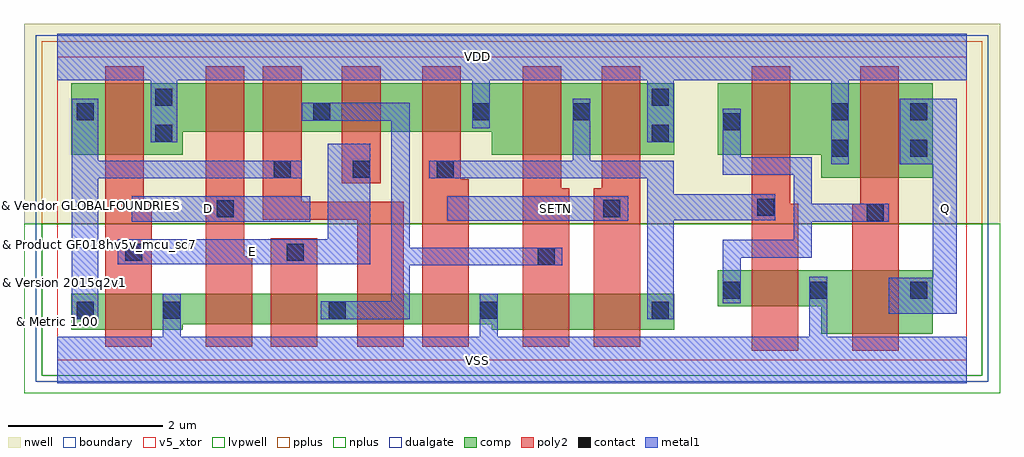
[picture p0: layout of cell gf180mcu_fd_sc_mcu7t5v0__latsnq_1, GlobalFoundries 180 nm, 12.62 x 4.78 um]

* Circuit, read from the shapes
.subckt gf180mcu_fd_sc_mcu7t5v0__latsnq_1 D E Q SETN VDD VSS
XM1 VSS E n1 VSUBS nfet_05v0 w=0.465u l=0.6u
XM2 n2 D VSS VSUBS nfet_05v0 w=0.395u l=0.6u
XM3 n3 E n2 VSUBS nfet_05v0 w=0.395u l=0.6u
XM4 n4 n1 n3 VSUBS nfet_05v0 w=0.395u l=0.6u
XM5 VSS n5 n4 VSUBS nfet_05v0 w=0.395u l=0.6u
XM6 n6 n3 VSS VSUBS nfet_05v0 w=0.465u l=0.6u
XM7 n5 SETN n6 VSUBS nfet_05v0 w=0.465u l=0.6u
XM8 VSS n5 n7 VSUBS nfet_05v0 w=0.465u l=0.6u
XM9 Q n7 VSS VSUBS nfet_05v0 w=0.82u l=0.6u
XM10 VDD E n1 n8 pfet_05v0 w=0.925u l=0.5u
XM11 n9 D VDD n8 pfet_05v0 w=0.63u l=0.5u
XM12 n3 n1 n9 n8 pfet_05v0 w=0.63u l=0.5u
XM13 n10 E n3 n8 pfet_05v0 w=0.63u l=0.5u
XM14 VDD n5 n10 n8 pfet_05v0 w=0.63u l=0.5u
XM15 n5 n3 VDD n8 pfet_05v0 w=0.925u l=0.5u
XM16 VDD SETN n5 n8 pfet_05v0 w=0.925u l=0.5u
XM17 VDD n5 n7 n8 pfet_05v0 w=0.925u l=0.5u
XM18 Q n7 VDD n8 pfet_05v0 w=1.22u l=0.5u
.ends

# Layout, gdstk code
import gdstk
lib = gdstk.Library(unit=1e-6, precision=1e-09)
def R(c, l, rs):  # rectangles x0, y0, x1, y1
    for r in rs: c.add(gdstk.rectangle(r[:2], r[2:], *l))
def P(c, l, *ps):  # polygons
    for p in ps: c.add(gdstk.Polygon(p, *l))
boundary = (0, 0)
nwell = (21, 0)
comp = (22, 0)
poly2 = (30, 0)
pplus = (31, 0)
nplus = (32, 0)
contact = (33, 0)
metal1 = (34, 0)
dualgate = (55, 0)
v5_xtor = (112, 1)
lvpwell = (204, 0)

gf180mcu_fd_sc_mcu7t5v0_ = lib.new_cell('gf180mcu_fd_sc_mcu7t5v0__latsnq_1')
R(gf180mcu_fd_sc_mcu7t5v0_, boundary, [(0,0,11.76,3.92)])
R(gf180mcu_fd_sc_mcu7t5v0_, nwell, [(-0.43,1.76,12.19,4.35)])
P(gf180mcu_fd_sc_mcu7t5v0_, comp, [(0.18,0.395),(0.18,0.86),(7.98,0.86),(7.98,0.395),(5.62,0.395),(5.62,0.465),(1.62,0.465),(1.62,0.395)],
  [(0.18,2.655),(0.18,3.58),(7.98,3.58),(7.98,2.655),(5.62,2.655),(5.62,2.95),(1.62,2.95),(1.62,2.655)],
  [(9.88,0.34),(9.88,0.695),(8.54,0.695),(8.54,1.16),(11.32,1.16),(11.32,0.34)],
  [(9.88,2.36),(9.88,2.655),(8.54,2.655),(8.54,3.58),(11.32,3.58),(11.32,2.36)])
R(gf180mcu_fd_sc_mcu7t5v0_, poly2, [(2.76,0.175,3.36,1.575), (3.68,2.285,4.18,3.8)])
P(gf180mcu_fd_sc_mcu7t5v0_, poly2, [(0.62,0.175),(0.62,3.8),(1.12,3.8),(1.12,2.065),(1.22,2.065),(1.22,0.175)],
  [(1.92,0.175),(1.92,3.8),(2.42,3.8),(2.42,1.34),(2.52,1.34),(2.52,0.175)],
  [(3.88,0.175),(3.88,1.815),(2.66,1.815),(2.66,3.8),(3.16,3.8),(3.16,2.045),(4.48,2.045),(4.48,0.175)],
  [(4.72,0.175),(4.72,3.8),(5.22,3.8),(5.22,2.335),(5.32,2.335),(5.32,0.175)],
  [(6.02,0.175),(6.02,3.8),(6.52,3.8),(6.52,2.22),(6.62,2.22),(6.62,0.175)],
  [(6.94,0.175),(6.94,2.22),(7.04,2.22),(7.04,3.8),(7.54,3.8),(7.54,0.175)],
  [(8.98,0.12),(8.98,3.8),(9.48,3.8),(9.48,2.02),(9.58,2.02),(9.58,0.12)],
  [(10.28,0.12),(10.28,2.02),(10.38,2.02),(10.38,3.8),(10.88,3.8),(10.88,0.12)])
R(gf180mcu_fd_sc_mcu7t5v0_, pplus, [(-0.2,1.76,11.96,4.12)])
R(gf180mcu_fd_sc_mcu7t5v0_, nplus, [(-0.2,-0.2,11.96,1.76)])
R(gf180mcu_fd_sc_mcu7t5v0_, contact, [(0.25,0.535,0.47,0.755), (1.37,0.535,1.59,0.755), (3.51,0.535,3.73,0.755), (5.47,0.535,5.69,0.755), (7.69,0.535,7.91,0.755), (8.61,0.795,8.83,1.015), (9.73,0.795,9.95,1.015), (11.03,0.795,11.25,1.015), (6.21,1.23,6.43,1.45), (0.88,1.285,1.1,1.505), (2.97,1.285,3.19,1.505), (10.47,1.795,10.69,2.015), (2.06,1.845,2.28,2.065), (7.06,1.85,7.28,2.07), (9.05,1.865,9.27,2.085), (2.8,2.355,3.02,2.575), (3.82,2.355,4.04,2.575), (4.91,2.355,5.13,2.575), (10.01,2.63,10.23,2.85), (11.03,2.63,11.25,2.85), (1.27,2.82,1.49,3.04), (7.69,2.82,7.91,3.04), (8.61,2.97,8.83,3.19), (0.25,3.1,0.47,3.32), (3.31,3.1,3.53,3.32), (5.37,3.1,5.59,3.32), (6.67,3.1,6.89,3.32), (10.01,3.1,10.23,3.32), (11.03,3.1,11.25,3.32), (1.27,3.29,1.49,3.51), (7.69,3.29,7.91,3.51)])
R(gf180mcu_fd_sc_mcu7t5v0_, metal1, [(0.965,1.79,3.27,2.12), (5.04,1.8,7.38,2.12)])
P(gf180mcu_fd_sc_mcu7t5v0_, metal1, [(0.19,0.53),(0.19,3.38),(0.53,3.38),(0.53,2.58),(3.16,2.58),(3.16,2.35),(0.53,2.35),(0.53,0.53)],
  [(0.78,1.24),(0.78,1.56),(3.5,1.56),(3.5,2.795),(4.045,2.795),(4.045,1.24)],
  [(3.41,0.53),(3.41,0.76),(4.32,0.76),(4.32,3.095),(3.16,3.095),(3.16,3.325),(4.56,3.325),(4.56,1.455),(6.53,1.455),(6.53,1.225),(4.56,1.225),(4.56,0.53)],
  [(7.63,0.53),(7.63,2.35),(4.81,2.35),(4.81,2.58),(6.665,2.58),(6.665,3.38),(6.895,3.38),(6.895,2.58),(7.97,2.58),(7.97,2.145),(9.285,2.145),(9.285,1.805),(7.97,1.805),(7.97,0.53)],
  [(8.605,0.735),(8.605,1.555),(9.525,1.555),(9.525,2.395),(8.605,2.395),(8.605,3.25),(8.835,3.25),(8.835,2.625),(9.755,2.625),(9.755,2.02),(10.75,2.02),(10.75,1.79),(9.755,1.79),(9.755,1.325),(8.835,1.325),(8.835,0.735)],
  [(10.75,0.6),(10.75,1.065),(11.32,1.065),(11.32,2.53),(10.895,2.53),(10.895,3.38),(11.63,3.38),(11.63,0.6)],
  [(0,-0.3),(0,0.3),(1.365,0.3),(1.365,0.86),(1.595,0.86),(1.595,0.3),(5.465,0.3),(5.465,0.86),(5.695,0.86),(5.695,0.3),(9.725,0.3),(9.725,1.075),(9.955,1.075),(9.955,0.3),(11.76,0.3),(11.76,-0.3)],
  [(10.005,2.53),(10.005,3.62),(7.97,3.62),(7.97,2.815),(7.63,2.815),(7.63,3.62),(5.595,3.62),(5.595,3),(5.365,3),(5.365,3.62),(1.55,3.62),(1.55,2.815),(1.21,2.815),(1.21,3.62),(0,3.62),(0,4.22),(11.76,4.22),(11.76,3.62),(10.235,3.62),(10.235,2.53)])
R(gf180mcu_fd_sc_mcu7t5v0_, dualgate, [(-0.28,-0.28,12.04,4.2)])
R(gf180mcu_fd_sc_mcu7t5v0_, v5_xtor, [(0,0,11.76,3.92)])
R(gf180mcu_fd_sc_mcu7t5v0_, lvpwell, [(-0.43,-0.43,12.19,1.76)])
gf180mcu_fd_sc_mcu7t5v0_.add(gdstk.Label('Q', (11.48,1.96), layer=34, texttype=10))
gf180mcu_fd_sc_mcu7t5v0_.add(gdstk.Label('VSS', (5.44,0), layer=34, texttype=10))
gf180mcu_fd_sc_mcu7t5v0_.add(gdstk.Label('SETN', (6.44,1.96), layer=34, texttype=10))
gf180mcu_fd_sc_mcu7t5v0_.add(gdstk.Label('VDD', (5.44,3.92), layer=34, texttype=10))
gf180mcu_fd_sc_mcu7t5v0_.add(gdstk.Label('D', (1.96,1.96), layer=34, texttype=10))
gf180mcu_fd_sc_mcu7t5v0_.add(gdstk.Label('E', (2.52,1.4), layer=34, texttype=10))
gf180mcu_fd_sc_mcu7t5v0_.add(gdstk.Label('& Vendor GLOBALFOUNDRIES', (0,2), layer=63, texttype=63))
gf180mcu_fd_sc_mcu7t5v0_.add(gdstk.Label('& Product GF018hv5v_mcu_sc7', (0,1.5), layer=63, texttype=63))
gf180mcu_fd_sc_mcu7t5v0_.add(gdstk.Label('& Version 2015q2v1', (0,1), layer=63, texttype=63))
gf180mcu_fd_sc_mcu7t5v0_.add(gdstk.Label('& Metric 1.00', (0,0.5), layer=63, texttype=63))

lib.write_gds('gf180mcu_fd_sc_mcu7t5v0__latsnq_1.gds')
